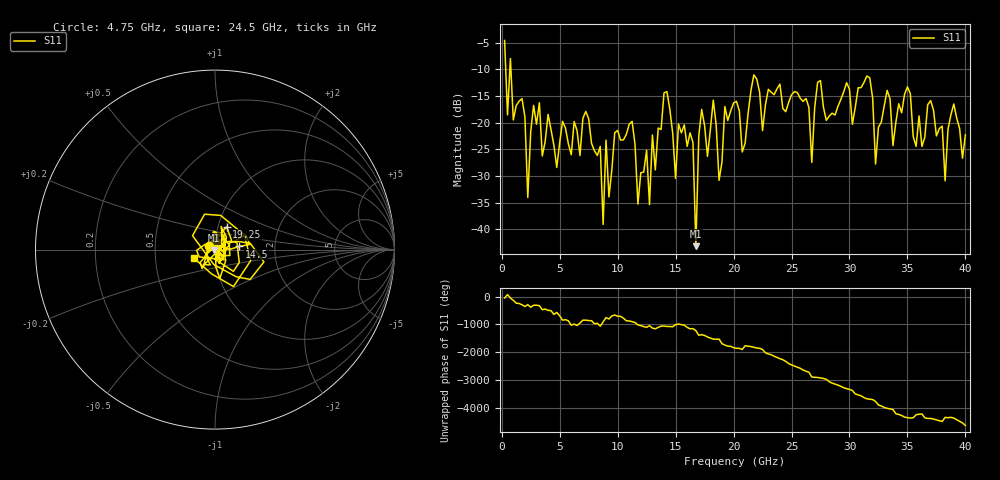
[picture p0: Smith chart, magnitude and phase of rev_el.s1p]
!Created with skrf (http://scikit-rf.org).
# GHz S RI R 50.0
!freq ReS11 ImS11
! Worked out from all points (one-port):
!   160 points, 250 MHz to 40 GHz, reference 50 ohm
!   lowest |S11| = -43.2 dB at 16.75 GHz (marker M1), VSWR 1.01, Z = 49.5 - j0.429 ohm
!   |S11| at or under -10 dB: 347.2 MHz to 701.8 MHz (354.6 MHz wide, 67.6 % of centre); 794.3 MHz to end of sweep
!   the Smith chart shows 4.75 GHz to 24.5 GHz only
!   S11 on the Smith chart (normalised r, x): 4.75 GHz: 0.93, +0.03; 14.5 GHz: 1.31, +0.05; 19.25 GHz: 1.10, +0.28; 24.5 GHz: 0.79, -0.07
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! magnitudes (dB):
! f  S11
! 250 MHz  -4.6
! 500 MHz  -18.5
! 2 GHz  -18.9
! 2.25 GHz  -34.0
! 2.75 GHz  -16.8
! 4.75 GHz  -28.4
! 5.25 GHz  -19.7
! 8.5 GHz  -24.4
! 8.75 GHz  -39.1
! 9 GHz  -23.3
! 10.25 GHz  -23.2
! 12.75 GHz  -35.4
! 14.5 GHz  -17.4
! 15.25 GHz  -20.2
! 16.5 GHz  -23.7
! 16.75 GHz  -43.2
! 17.25 GHz  -17.5
! 18.75 GHz  -30.8
! 19.25 GHz  -17.0
! 20.25 GHz  -16.0
! 24.5 GHz  -17.9
! 25.25 GHz  -14.2
! 26.75 GHz  -27.4
! 27.25 GHz  -12.4
! 30.25 GHz  -20.3
! 35.25 GHz  -14.5
! 38.25 GHz  -30.9
! 40 GHz  -22.3
